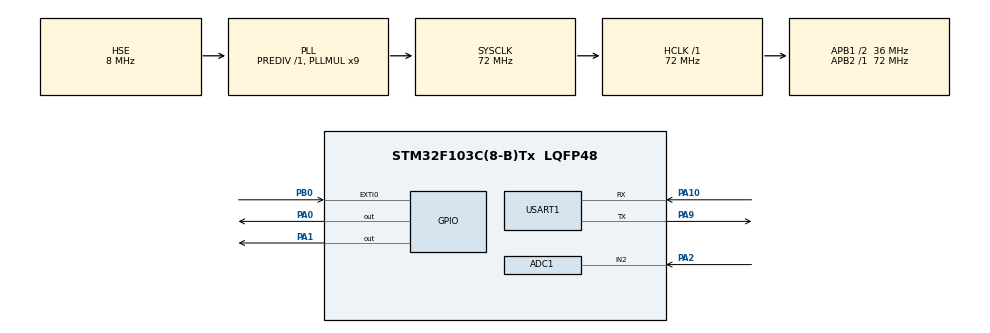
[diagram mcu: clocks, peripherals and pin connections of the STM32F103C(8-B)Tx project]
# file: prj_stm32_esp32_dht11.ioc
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ADC1.Channel-0\#ChannelRegularConversion=ADC_CHANNEL_2
ADC1.NbrOfConversionFlag=1
ADC1.Rank-0\#ChannelRegularConversion=1
ADC1.SamplingTime-0\#ChannelRegularConversion=ADC_SAMPLETIME_1CYCLE_5
ADC1.master=1
Mcu.Family=STM32F1
Mcu.Name=STM32F103C(8-B)Tx
Mcu.Package=LQFP48
NVIC.ADC1_2_IRQn=true\:0\:0\:false\:false\:true\:true\:true\:true
NVIC.PriorityGroup=NVIC_PRIORITYGROUP_4
NVIC.USART1_IRQn=true\:1\:0\:true\:false\:true\:true\:true\:true
PA0-WKUP.Signal=GPIO_Output
PA1.Signal=GPIO_Output
PA10.Mode=Asynchronous
PA10.Signal=USART1_RX
PA13.Mode=Serial_Wire
PA13.Signal=SYS_JTMS-SWDIO
PA14.Mode=Serial_Wire
PA14.Signal=SYS_JTCK-SWCLK
PA2.Signal=ADCx_IN2
PA9.Mode=Asynchronous
PA9.Signal=USART1_TX
PB0.GPIO_ModeDefaultEXTI=GPIO_MODE_IT_FALLING
PB0.GPIO_PuPd=GPIO_PULLUP
PB0.Signal=GPXTI0
PD0-OSC_IN.Mode=HSE-External-Oscillator
PD0-OSC_IN.Signal=RCC_OSC_IN
PD1-OSC_OUT.Mode=HSE-External-Oscillator
PD1-OSC_OUT.Signal=RCC_OSC_OUT
ProjectManager.HeapSize=0x200
ProjectManager.StackSize=0x400
ProjectManager.TargetToolchain=MDK-ARM V5.32
RCC.AHBFreq_Value=72000000
RCC.APB1CLKDivider=RCC_HCLK_DIV2
RCC.APB1Freq_Value=36000000
RCC.APB1TimFreq_Value=72000000
RCC.APB2Freq_Value=72000000
RCC.APB2TimFreq_Value=72000000
RCC.HCLKFreq_Value=72000000
RCC.PLLMUL=RCC_PLL_MUL9
RCC.PLLSourceVirtual=RCC_PLLSOURCE_HSE
RCC.SYSCLKFreq_VALUE=72000000
RCC.SYSCLKSource=RCC_SYSCLKSOURCE_PLLCLK
RCC.USBFreq_Value=72000000
SH.ADCx_IN2.0=ADC1_IN2,IN2
TIM1.Period=0xffff-1
TIM1.Prescaler=72-1
USART1.VirtualMode=VM_ASYNC
VP_TIM1_VS_ClockSourceINT.Mode=Internal
board=custom

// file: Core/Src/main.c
/* USER CODE BEGIN Header */
/**
  ******************************************************************************
  * @file           : main.c
  * @brief          : Main program body
  ******************************************************************************
  * @attention
  *
  * Copyright (c) 2023 STMicroelectronics.
  * All rights reserved.
  *
  * This software is licensed under terms that can be found in the LICENSE file
  * in the root directory of this software component.
  * If no LICENSE file comes with this software, it is provided AS-IS.
  *
  ******************************************************************************
  */
/* USER CODE END Header */
#include "main.h"
#include "stdio.h"

/* USER CODE BEGIN PTD */
uint8_t arr[] = "HELLO WORLD";
/* USER CODE END PTD */

ADC_HandleTypeDef hadc1;

TIM_HandleTypeDef htim1;

UART_HandleTypeDef huart1;

void SystemClock_Config(void);
static void MX_GPIO_Init(void);
static void MX_TIM1_Init(void);
static void MX_USART1_UART_Init(void);
static void MX_ADC1_Init(void);

/* USER CODE BEGIN 0 */

/****** Delay us *********/
void Delay_us(uint16_t time)
{
	htim1.Instance->CNT = 0;
	HAL_TIM_Base_Start(&htim1);
	while(htim1.Instance->CNT < time);
	HAL_TIM_Base_Stop(&htim1);
}

void Delay_ms(uint32_t ms)
{
	for(int i = 0; i < ms; i++){
		Delay_us(1000);
	}
}

uint8_t humidity, temperature;
uint8_t data[5];
uint32_t mq2;
float gas_percentage;
uint16_t SUM;

void Set_Pin_Output(GPIO_TypeDef *GPIOx, uint16_t GPIO_Pin)
{
	GPIO_InitTypeDef GPIO_InitStructure = {0};
	GPIO_InitStructure.Pin = GPIO_Pin;
	GPIO_InitStructure.Mode = GPIO_MODE_OUTPUT_PP;
	GPIO_InitStructure.Speed = GPIO_SPEED_FREQ_LOW;
	HAL_GPIO_Init(GPIOx, &GPIO_InitStructure);
}

void Set_Pin_Input(GPIO_TypeDef *GPIOx, uint16_t GPIO_Pin)
{
	GPIO_InitTypeDef GPIO_InitStructure = {0};
	GPIO_InitStructure.Pin = GPIO_Pin;
	GPIO_InitStructure.Mode = GPIO_MODE_INPUT;
	GPIO_InitStructure.Pull = GPIO_PULLUP;
	HAL_GPIO_Init(GPIOx, &GPIO_InitStructure);
}

/****************************************************** FUNTION DHT11 ******************************************************************/

#define DHT11_PORT GPIOA
#define DHT11_PIN GPIO_PIN_1

void DHT_Start(void)
{
	Set_Pin_Output(DHT11_PORT, DHT11_PIN);
	HAL_GPIO_WritePin(DHT11_PORT, DHT11_PIN, 1);
	HAL_GPIO_WritePin(DHT11_PORT, DHT11_PIN, 0);
	HAL_Delay(20);
	HAL_GPIO_WritePin(DHT11_PORT, DHT11_PIN, 1);
	Delay_us(30);
	Set_Pin_Input(DHT11_PORT, DHT11_PIN);
}

void DHT_Check_Response(void)
{
//	uint8_t Response = 0;
//	Delay_us(40);
//	if(!(HAL_GPIO_ReadPin(DHT11_PORT, DHT11_PIN)))
//	{
//		Delay_us(80);
//		if(HAL_GPIO_ReadPin(DHT11_PORT, DHT11_PIN))
//			Response = 1;
//		else
//			Response = -1;
//	}
//	while(HAL_GPIO_ReadPin(DHT11_PORT, DHT11_PIN));
//	return Response;
	while(HAL_GPIO_ReadPin(DHT11_PORT, DHT11_PIN) != 0) ;
	while(HAL_GPIO_ReadPin(DHT11_PORT, DHT11_PIN) == 0) ;
	while(HAL_GPIO_ReadPin(DHT11_PORT, DHT11_PIN) != 0) ;
}

uint8_t DHT_Read(void)
{
	uint8_t i,j;
	for(j = 0; j < 8; j++)
	{
		while(HAL_GPIO_ReadPin(DHT11_PORT, DHT11_PIN) == 0);
		Delay_us(50);
		if(!(HAL_GPIO_ReadPin(DHT11_PORT, DHT11_PIN)))
		{
			i&=~(1<<(7-j));
		}
		else
		{
			i|=(1<<(7-j));
		}
		while(HAL_GPIO_ReadPin(DHT11_PORT, DHT11_PIN) != 0);
	}
	return i;
}

/* USER CODE END 0 */

int main(void)
{

  /* MCU Configuration--------------------------------------------------------*/

  /* Reset of all peripherals, Initializes the Flash interface and the Systick. */
  HAL_Init();

  /* Configure the system clock */
  SystemClock_Config();

  /* Initialize all configured peripherals */
  MX_GPIO_Init();
  MX_TIM1_Init();
  MX_USART1_UART_Init();
  MX_ADC1_Init();

  /* Infinite loop */
  while (1)
  {

    /* USER CODE BEGIN 3 */

		DHT_Start();
		DHT_Check_Response();
		data[0] = DHT_Read();
		data[1] = DHT_Read();
		data[2] = DHT_Read();
		data[3] = DHT_Read();

//		HAL_ADC_Start(&hadc1);
//		HAL_Delay(50);
//		mq2 = HAL_ADC_GetValue(&hadc1);
//		HAL_ADC_Stop(&hadc1);
//		gas_percentage = ((float)mq2 / 4095) * 100.0;
//		printf("Gas concentration: %.2f%%\n", gas_percentage);

		HAL_UART_Transmit(&huart1,data, sizeof((uint8_t*)data), HAL_MAX_DELAY);
		HAL_Delay(1000);
  }
  /* USER CODE END 3 */
}

void SystemClock_Config(void)
{
  RCC_OscInitTypeDef RCC_OscInitStruct = {0};
  RCC_ClkInitTypeDef RCC_ClkInitStruct = {0};
  RCC_PeriphCLKInitTypeDef PeriphClkInit = {0};

  /** Initializes the RCC Oscillators according to the specified parameters
  * in the RCC_OscInitTypeDef structure.
  */
  RCC_OscInitStruct.OscillatorType = RCC_OSCILLATORTYPE_HSE;
  RCC_OscInitStruct.HSEState = RCC_HSE_ON;
  RCC_OscInitStruct.HSEPredivValue = RCC_HSE_PREDIV_DIV1;
  RCC_OscInitStruct.HSIState = RCC_HSI_ON;
  RCC_OscInitStruct.PLL.PLLState = RCC_PLL_ON;
  RCC_OscInitStruct.PLL.PLLSource = RCC_PLLSOURCE_HSE;
  RCC_OscInitStruct.PLL.PLLMUL = RCC_PLL_MUL9;
  if (HAL_RCC_OscConfig(&RCC_OscInitStruct) != HAL_OK)
  {
    Error_Handler();
  }

  /** Initializes the CPU, AHB and APB buses clocks
  */
  RCC_ClkInitStruct.ClockType = RCC_CLOCKTYPE_HCLK|RCC_CLOCKTYPE_SYSCLK
                              |RCC_CLOCKTYPE_PCLK1|RCC_CLOCKTYPE_PCLK2;
  RCC_ClkInitStruct.SYSCLKSource = RCC_SYSCLKSOURCE_PLLCLK;
  RCC_ClkInitStruct.AHBCLKDivider = RCC_SYSCLK_DIV1;
  RCC_ClkInitStruct.APB1CLKDivider = RCC_HCLK_DIV2;
  RCC_ClkInitStruct.APB2CLKDivider = RCC_HCLK_DIV1;

  if (HAL_RCC_ClockConfig(&RCC_ClkInitStruct, FLASH_LATENCY_2) != HAL_OK)
  {
    Error_Handler();
  }
  PeriphClkInit.PeriphClockSelection = RCC_PERIPHCLK_ADC;
  PeriphClkInit.AdcClockSelection = RCC_ADCPCLK2_DIV2;
  if (HAL_RCCEx_PeriphCLKConfig(&PeriphClkInit) != HAL_OK)
  {
    Error_Handler();
  }
}

static void MX_ADC1_Init(void)
{

  ADC_ChannelConfTypeDef sConfig = {0};

  /** Common config
  */
  hadc1.Instance = ADC1;
  hadc1.Init.ScanConvMode = ADC_SCAN_DISABLE;
  hadc1.Init.ContinuousConvMode = DISABLE;
  hadc1.Init.DiscontinuousConvMode = DISABLE;
  hadc1.Init.ExternalTrigConv = ADC_SOFTWARE_START;
  hadc1.Init.DataAlign = ADC_DATAALIGN_RIGHT;
  hadc1.Init.NbrOfConversion = 1;
  if (HAL_ADC_Init(&hadc1) != HAL_OK)
  {
    Error_Handler();
  }

  /** Configure Regular Channel
  */
  sConfig.Channel = ADC_CHANNEL_2;
  sConfig.Rank = ADC_REGULAR_RANK_1;
  sConfig.SamplingTime = ADC_SAMPLETIME_1CYCLE_5;
  if (HAL_ADC_ConfigChannel(&hadc1, &sConfig) != HAL_OK)
  {
    Error_Handler();
  }

}

static void MX_TIM1_Init(void)
{

  TIM_ClockConfigTypeDef sClockSourceConfig = {0};
  TIM_MasterConfigTypeDef sMasterConfig = {0};

  htim1.Instance = TIM1;
  htim1.Init.Prescaler = 72-1;
  htim1.Init.CounterMode = TIM_COUNTERMODE_UP;
  htim1.Init.Period = 0xffff-1;
  htim1.Init.ClockDivision = TIM_CLOCKDIVISION_DIV1;
  htim1.Init.RepetitionCounter = 0;
  htim1.Init.AutoReloadPreload = TIM_AUTORELOAD_PRELOAD_DISABLE;
  if (HAL_TIM_Base_Init(&htim1) != HAL_OK)
  {
    Error_Handler();
  }
  sClockSourceConfig.ClockSource = TIM_CLOCKSOURCE_INTERNAL;
  if (HAL_TIM_ConfigClockSource(&htim1, &sClockSourceConfig) != HAL_OK)
  {
    Error_Handler();
  }
  sMasterConfig.MasterOutputTrigger = TIM_TRGO_RESET;
  sMasterConfig.MasterSlaveMode = TIM_MASTERSLAVEMODE_DISABLE;
  if (HAL_TIMEx_MasterConfigSynchronization(&htim1, &sMasterConfig) != HAL_OK)
  {
    Error_Handler();
  }

}

static void MX_USART1_UART_Init(void)
{

  huart1.Instance = USART1;
  huart1.Init.BaudRate = 115200;
  huart1.Init.WordLength = UART_WORDLENGTH_8B;
  huart1.Init.StopBits = UART_STOPBITS_1;
  huart1.Init.Parity = UART_PARITY_NONE;
  huart1.Init.Mode = UART_MODE_TX_RX;
  huart1.Init.HwFlowCtl = UART_HWCONTROL_NONE;
  huart1.Init.OverSampling = UART_OVERSAMPLING_16;
  if (HAL_UART_Init(&huart1) != HAL_OK)
  {
    Error_Handler();
  }

}

static void MX_GPIO_Init(void)
{
  GPIO_InitTypeDef GPIO_InitStruct = {0};

  /* GPIO Ports Clock Enable */
  __HAL_RCC_GPIOD_CLK_ENABLE();
  __HAL_RCC_GPIOA_CLK_ENABLE();
  __HAL_RCC_GPIOB_CLK_ENABLE();

  /*Configure GPIO pin Output Level */
  HAL_GPIO_WritePin(GPIOA, GPIO_PIN_0|GPIO_PIN_1, GPIO_PIN_RESET);

  /*Configure GPIO pins : PA0 PA1 */
  GPIO_InitStruct.Pin = GPIO_PIN_0|GPIO_PIN_1;
  GPIO_InitStruct.Mode = GPIO_MODE_OUTPUT_PP;
  GPIO_InitStruct.Pull = GPIO_NOPULL;
  GPIO_InitStruct.Speed = GPIO_SPEED_FREQ_LOW;
  HAL_GPIO_Init(GPIOA, &GPIO_InitStruct);

  /*Configure GPIO pin : PB0 */
  GPIO_InitStruct.Pin = GPIO_PIN_0;
  GPIO_InitStruct.Mode = GPIO_MODE_IT_FALLING;
  GPIO_InitStruct.Pull = GPIO_PULLUP;
  HAL_GPIO_Init(GPIOB, &GPIO_InitStruct);

}

void Error_Handler(void)
{
  __disable_irq();
  while (1)
  {
  }
}
